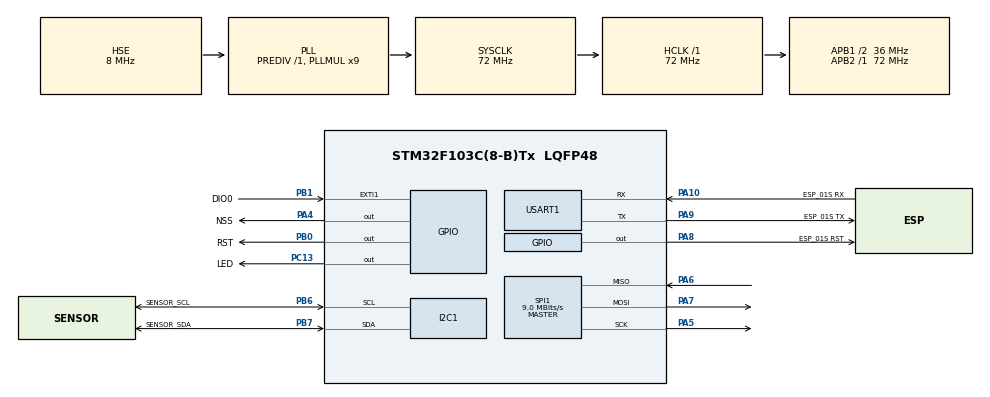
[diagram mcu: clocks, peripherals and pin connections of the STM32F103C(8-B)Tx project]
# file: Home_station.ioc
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Mcu.Family=STM32F1
Mcu.Name=STM32F103C(8-B)Tx
Mcu.Package=LQFP48
NVIC.EXTI1_IRQn=true\:0\:0\:false\:false\:true\:true\:true\:true
NVIC.PriorityGroup=NVIC_PRIORITYGROUP_4
PA10.GPIO_Label=ESP_01S RX
PA10.Mode=Asynchronous
PA10.Signal=USART1_RX
PA11.GPIO_Label=RTC_ALARM
PA11.Signal=USART1_CTS
PA13.Mode=Serial_Wire
PA13.Signal=SYS_JTMS-SWDIO
PA14.Mode=Serial_Wire
PA14.Signal=SYS_JTCK-SWCLK
PA4.GPIO_Label=NSS
PA4.PinState=GPIO_PIN_SET
PA4.Signal=GPIO_Output
PA5.Mode=Full_Duplex_Master
PA5.Signal=SPI1_SCK
PA6.Mode=Full_Duplex_Master
PA6.Signal=SPI1_MISO
PA7.Mode=Full_Duplex_Master
PA7.Signal=SPI1_MOSI
PA8.GPIO_Label=ESP_01S RST
PA8.PinState=GPIO_PIN_SET
PA8.Signal=GPIO_Output
PA9.GPIO_Label=ESP_01S TX
PA9.Mode=Asynchronous
PA9.Signal=USART1_TX
PB0.GPIO_Label=RST
PB0.PinState=GPIO_PIN_SET
PB0.Signal=GPIO_Output
PB1.GPIO_Label=DIO0
PB1.Signal=GPXTI1
PB6.GPIO_Label=SENSOR_SCL
PB6.Mode=I2C
PB6.Signal=I2C1_SCL
PB7.GPIO_Label=SENSOR_SDA
PB7.Mode=I2C
PB7.Signal=I2C1_SDA
PC13-TAMPER-RTC.GPIO_Label=LED
PC13-TAMPER-RTC.Signal=GPIO_Output
PD0-OSC_IN.Mode=HSE-External-Oscillator
PD0-OSC_IN.Signal=RCC_OSC_IN
PD1-OSC_OUT.Mode=HSE-External-Oscillator
PD1-OSC_OUT.Signal=RCC_OSC_OUT
ProjectManager.HeapSize=0x200
ProjectManager.StackSize=0x400
ProjectManager.TargetToolchain=STM32CubeIDE
RCC.AHBFreq_Value=72000000
RCC.APB1CLKDivider=RCC_HCLK_DIV2
RCC.APB1Freq_Value=36000000
RCC.APB1TimFreq_Value=72000000
RCC.APB2Freq_Value=72000000
RCC.APB2TimFreq_Value=72000000
RCC.HCLKFreq_Value=72000000
RCC.PLLMUL=RCC_PLL_MUL9
RCC.PLLSourceVirtual=RCC_PLLSOURCE_HSE
RCC.SYSCLKFreq_VALUE=72000000
RCC.SYSCLKSource=RCC_SYSCLKSOURCE_PLLCLK
RCC.USBFreq_Value=72000000
SPI1.BaudRatePrescaler=SPI_BAUDRATEPRESCALER_8
SPI1.CalculateBaudRate=9.0 MBits/s
SPI1.Direction=SPI_DIRECTION_2LINES
SPI1.Mode=SPI_MODE_MASTER
SPI1.VirtualType=VM_MASTER
USART1.VirtualMode=VM_ASYNC
board=custom

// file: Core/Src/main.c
/* USER CODE BEGIN Header */
/**
  ******************************************************************************
  * @file           : main.c
  * @brief          : Main program body
  ******************************************************************************
  * @attention
  *
  * Copyright (c) 2024 STMicroelectronics.
  * All rights reserved.
  *
  * This software is licensed under terms that can be found in the LICENSE file
  * in the root directory of this software component.
  * If no LICENSE file comes with this software, it is provided AS-IS.
  *
  ******************************************************************************
  */
/* USER CODE END Header */
#include "main.h"
#include "i2c.h"
#include "spi.h"
#include "usart.h"
#include "gpio.h"

/* USER CODE BEGIN Includes */
#include "stdio.h"
#include "string.h"
#include <stdlib.h>
//#include <time.h>

#include "myFunctions.h"

#include "bmp280.h"

#include "esp01s.h"

#include "SX1278.h"

/* USER CODE END Includes */

/* USER CODE BEGIN PV */

// THIS IS STATION

// vats
uint8_t count = 0;

// 		=== Sensors ===

// BMP280 - digital pressure sensor
BMP280_HandleTypedef bmp280;
float pressure, temperature, humidity;

uint16_t size;
uint8_t Data[256];

// DHA20 - temperature and humidity sensor

// 		===== LoRa =====

SX1278_hw_t SX1278_hw;
SX1278_t SX1278;
int master;
int ret;

char LoRaTxBuffer[128];
char LoRaRxBuffer[128];

int tx_message;
int message_length;
int tx_len;

int timeout;
int change_mode_time;
//
int counter = 5;

int control_val=0;

// 		===== ESP-01S =====

Esp01s Esp;
HAL_StatusTypeDef status;
// 		===== RTC =====

//RTC_TimeTypeDef RtcTime;
//char czas[128];

//TODO
// sprawdzanie czy esp jest połączony z siecą wifi z podanych danych
//
// okres czasowy do wysyłania i odbierania

/* USER CODE END PV */

void SystemClock_Config(void);

/* USER CODE BEGIN 0 */

// Puts LoRa module in receive mode
// -- LED should be off --
void LoRaSetRxMode(){
	ret = SX1278_LoRaEntryTx(&SX1278, 16, 2000);
	HAL_GPIO_WritePin(LED_GPIO_Port, LED_Pin, GPIO_PIN_SET);
	while (GPIO_PIN_RESET == HAL_GPIO_ReadPin(LED_GPIO_Port, LED_Pin));
}

// Puts LoRa module in transmit mode
// -- LED should be on --
void LoRaSetTxMode(){
	ret = SX1278_LoRaEntryRx(&SX1278, 16, 2000);
	HAL_GPIO_WritePin(LED_GPIO_Port, LED_Pin, GPIO_PIN_RESET);
	while (GPIO_PIN_RESET == HAL_GPIO_ReadPin(LED_GPIO_Port, LED_Pin));
}

/* USER CODE END 0 */

int main(void)
{

  /* MCU Configuration--------------------------------------------------------*/

  /* Reset of all peripherals, Initializes the Flash interface and the Systick. */
  HAL_Init();

  /* Configure the system clock */
  SystemClock_Config();

  /* Initialize all configured peripherals */
  MX_GPIO_Init();
  MX_SPI1_Init();
  MX_USART1_UART_Init();
  MX_I2C1_Init();
  /* USER CODE BEGIN 2 */
  // === Sensor setup ===

//  bmp280_init_default_params(&bmp280.params);
//  bmp280.addr = BMP280_I2C_ADDRESS_0;
//  bmp280.i2c = &hi2c1;

//  while (!bmp280_init(&bmp280, &bmp280.params)) {
//  	size = sprintf((char *)Data, "BMP280 initialization failed\n");
//  	HAL_Delay(100);
//  }
//  bool bme280p = bmp280.id == BME280_CHIP_ID;
//  size = sprintf((char *)Data, "BMP280: found %s\n", bme280p ? "BME280" : "BMP280");
//  HAL_Delay(100);

  /*
   * 	===== LoRa setup =====
   */
  // This is main station so first mode should be Tx
  // 0 - send mode
  // 1 - receive mode
  master = 1;
  control_val++;

  SX1278_hw.dio0.port = DIO0_GPIO_Port;
  SX1278_hw.dio0.pin = DIO0_Pin;
  SX1278_hw.nss.port = NSS_GPIO_Port;
  SX1278_hw.nss.pin = NSS_Pin;
  SX1278_hw.reset.port = RST_GPIO_Port;
  SX1278_hw.reset.pin = RST_Pin;
  SX1278_hw.spi = &hspi1;

  control_val++;
  SX1278_init(&SX1278, 434000000, SX1278_POWER_17DBM, SX1278_LORA_SF_7,
		  SX1278_LORA_BW_125KHZ, SX1278_LORA_CR_4_5, SX1278_LORA_CRC_EN, 10);
  control_val++;

  LoRaSetRxMode();
  control_val++;

  timeout = 10;
  change_mode_time = 10;
  /*
   * 	===== ESP setup ======
   *
   */

//  Esp = newEsp01s(&huart1);
//  esp_setup(&Esp);
//  start_connection(&Esp);

  /* USER CODE END 2 */

  /* Infinite loop */
  /* USER CODE BEGIN WHILE */
  while (1)
  {
//	sprintf((char*)czas, "Time: %02d:%02d:%02d\n\r",
//			RtcTime.Hours, RtcTime.Minutes, RtcTime.Seconds);
	// === Sensors ===
	// BMP280
//	HAL_Delay(100);
//	while (!bmp280_read_float(&bmp280, &temperature, &pressure, &humidity)) {
//		size = sprintf((char *)Data,
//				"Temperature/pressure reading failed\n");
//
//		HAL_UART_Transmit(&huart1, Data, size, 1000);
//		HAL_Delay(2000);
//	}
//
//	size = sprintf((char *)Data, // @suppress("Float formatting support")
//		"Pressure: %.2f Pa, Temperature: %.2f C",
//		pressure, temperature);
//	HAL_UART_Transmit(&huart1, Data, size, 1000);
//	if (bme280p) {
//		size = sprintf((char *)Data,", Humidity: %.2f\n", humidity); // @suppress("Float formatting support")
//		HAL_UART_Transmit(&huart1, Data, size, 1000);
//	}
//	else {
//		size = sprintf((char *)Data, "\n");
//		HAL_UART_Transmit(&huart1, Data, size, 1000);
//	}
//	HAL_Delay(2000);
	// DHA20

	  // change master to mode checking
//	  counter = 5;
//	  if(master == 1){
//		// sending to sensor countdown to change modes and
//		// timeout after which dsata should be send to station
//		while(--counter>=0){
//			rx_len = sprintf(LoRaTxBuffer, "%d,%d,%d", counter, change_mode_time ,timeout);
//			ret = SX1278_LoRaEntryTx(&SX1278, message_length, 500);
//			ret = SX1278_LoRaTxPacket(&SX1278, (uint8_t*) LoRaTxBuffer,
//									rx_len, 500);
//
//		}
//		LoRaSetRxMode();
//
//
//	  }else{
//		  while(--counter>=0){
//			ret = SX1278_LoRaRxPacket(&SX1278);
//			// receive message do something with it
//			// this should receive data from sensor
//			if(ret > 0){
//				SX1278_read(&SX1278, (uint8_t*) LoRaRxBuffer, ret);
//				control_val++;
//			}
//			HAL_Delay(1000);
//		  }
//		LoRaSetTxMode();
//
//	  }

	  //send_post_req(&Esp);

	// end delay default timeout
//	HAL_Delay(timeout);
	HAL_Delay(1000);
    /* USER CODE END WHILE */

  }
}

void SystemClock_Config(void)
{
  RCC_OscInitTypeDef RCC_OscInitStruct = {0};
  RCC_ClkInitTypeDef RCC_ClkInitStruct = {0};

  /** Initializes the RCC Oscillators according to the specified parameters
  * in the RCC_OscInitTypeDef structure.
  */
  RCC_OscInitStruct.OscillatorType = RCC_OSCILLATORTYPE_HSE;
  RCC_OscInitStruct.HSEState = RCC_HSE_ON;
  RCC_OscInitStruct.HSEPredivValue = RCC_HSE_PREDIV_DIV1;
  RCC_OscInitStruct.HSIState = RCC_HSI_ON;
  RCC_OscInitStruct.PLL.PLLState = RCC_PLL_ON;
  RCC_OscInitStruct.PLL.PLLSource = RCC_PLLSOURCE_HSE;
  RCC_OscInitStruct.PLL.PLLMUL = RCC_PLL_MUL9;
  if (HAL_RCC_OscConfig(&RCC_OscInitStruct) != HAL_OK)
  {
    Error_Handler();
  }

  /** Initializes the CPU, AHB and APB buses clocks
  */
  RCC_ClkInitStruct.ClockType = RCC_CLOCKTYPE_HCLK|RCC_CLOCKTYPE_SYSCLK
                              |RCC_CLOCKTYPE_PCLK1|RCC_CLOCKTYPE_PCLK2;
  RCC_ClkInitStruct.SYSCLKSource = RCC_SYSCLKSOURCE_PLLCLK;
  RCC_ClkInitStruct.AHBCLKDivider = RCC_SYSCLK_DIV1;
  RCC_ClkInitStruct.APB1CLKDivider = RCC_HCLK_DIV2;
  RCC_ClkInitStruct.APB2CLKDivider = RCC_HCLK_DIV1;

  if (HAL_RCC_ClockConfig(&RCC_ClkInitStruct, FLASH_LATENCY_2) != HAL_OK)
  {
    Error_Handler();
  }
}

/* USER CODE BEGIN 4 */

// EXTI interruption function
/* USER CODE END 4 */

void Error_Handler(void)
{
  __disable_irq();
  while (1)
  {
  }
}
